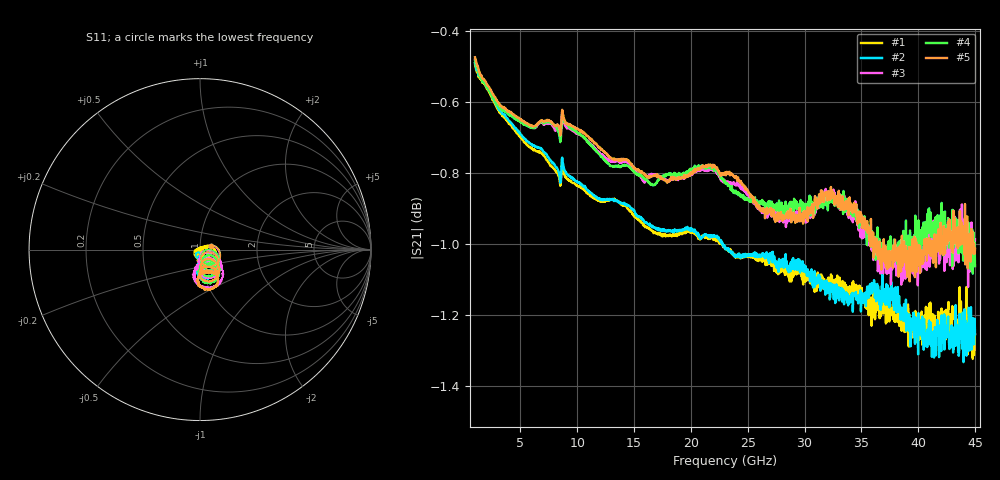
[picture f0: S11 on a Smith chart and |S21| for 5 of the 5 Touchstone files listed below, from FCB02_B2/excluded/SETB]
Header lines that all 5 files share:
!Keysight Technologies,N5247B,MY61255062,A.19.80.06
!Correction: S11(Cdelta 2-Port  )
!S21(Cdelta 2-Port  )
!S12(Cdelta 2-Port  )
!S22(Cdelta 2-Port  )
!S2P File: Measurements: S11, S21, S12, S22:
# Hz S  dB  R 50
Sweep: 1 GHz to 45 GHz
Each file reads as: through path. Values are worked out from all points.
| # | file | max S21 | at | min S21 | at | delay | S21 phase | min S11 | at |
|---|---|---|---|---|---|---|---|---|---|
| 1 | floating_die_TN2.s2p | -0.49 dB | 1 GHz | -1.3 dB | 44.81 GHz | 57.1 ps | -114 deg at 23 GHz | -49.4 dB | 35.18 GHz |
| 2 | floating_die_TN3.s2p | -0.49 dB | 1 GHz | -1.3 dB | 43.98 GHz | 56.5 ps | -109 deg at 23 GHz | -35.5 dB | 8.617 GHz |
| 3 | thru1.s2p | -0.48 dB | 1 GHz | -1.1 dB | 44.4 GHz | 49.8 ps | -53 deg at 23 GHz | -34.9 dB | 11.37 GHz |
| 4 | thru2.s2p | -0.48 dB | 1 GHz | -1.1 dB | 44.81 GHz | 49.9 ps | -54 deg at 23 GHz | -33.0 dB | 11.04 GHz |
| 5 | thru3.s2p | -0.47 dB | 1 GHz | -1.1 dB | 39.25 GHz | 49.8 ps | -53 deg at 23 GHz | -30.2 dB | 11.29 GHz |
